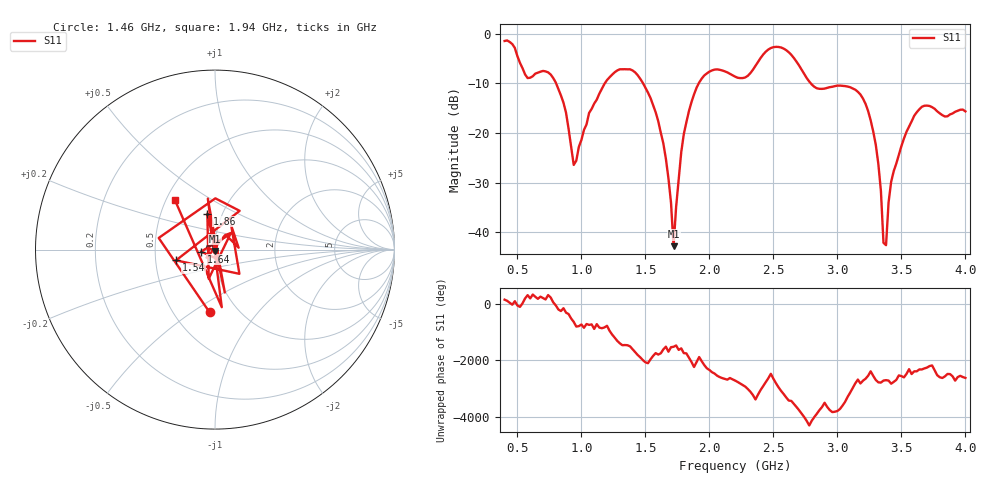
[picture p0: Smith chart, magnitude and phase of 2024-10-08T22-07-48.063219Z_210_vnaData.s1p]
! Created with skrf (http://scikit-rf.org).
# Hz S RI R 50.0
!freq ReS11 ImS11
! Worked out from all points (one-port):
!   181 points, 400 MHz to 4 GHz, reference 50 ohm
!   lowest |S11| = -42.8 dB at 1.72 GHz (marker M1), VSWR 1.01, Z = 50.1 - j0.711 ohm
!   |S11| at or under -10 dB: 802.8 MHz to 1.182 GHz (379.4 MHz wide, 38.2 % of centre); 1.482 GHz to 1.916 GHz (434.2 MHz wide, 25.6 % of centre); 2.793 GHz to end of sweep
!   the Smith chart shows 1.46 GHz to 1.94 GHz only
!   S11 on the Smith chart (normalised r, x): 1.46 GHz: 0.74, -0.59; 1.54 GHz: 0.64, -0.08; 1.64 GHz: 0.86, -0.02; 1.86 GHz: 0.85, +0.36; 1.94 GHz: 0.56, +0.35
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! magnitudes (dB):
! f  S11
! 400 MHz  -1.4
! 580 MHz  -8.9
! 760 MHz  -8.2
! 860 MHz  -13.9
! 940 MHz  -26.4
! 1.06 GHz  -16.0
! 1.3 GHz  -7.1
! 1.46 GHz  -9.1
! 1.54 GHz  -12.9
! 1.64 GHz  -22.1
! 1.7 GHz  -34.0
! 1.72 GHz  -42.8
! 1.76 GHz  -29.3
! 1.86 GHz  -13.8
! 1.94 GHz  -9.0
! 2.2 GHz  -8.6
! 2.5 GHz  -2.7
! 2.66 GHz  -4.9
! 2.84 GHz  -11.0
! 3.1 GHz  -10.8
! 3.28 GHz  -19.7
! 3.34 GHz  -31.7
! 3.36 GHz  -42.2
! 3.38 GHz  -42.6
! 3.42 GHz  -29.8
! 3.56 GHz  -18.7
! 3.68 GHz  -14.5
! 4 GHz  -15.6
